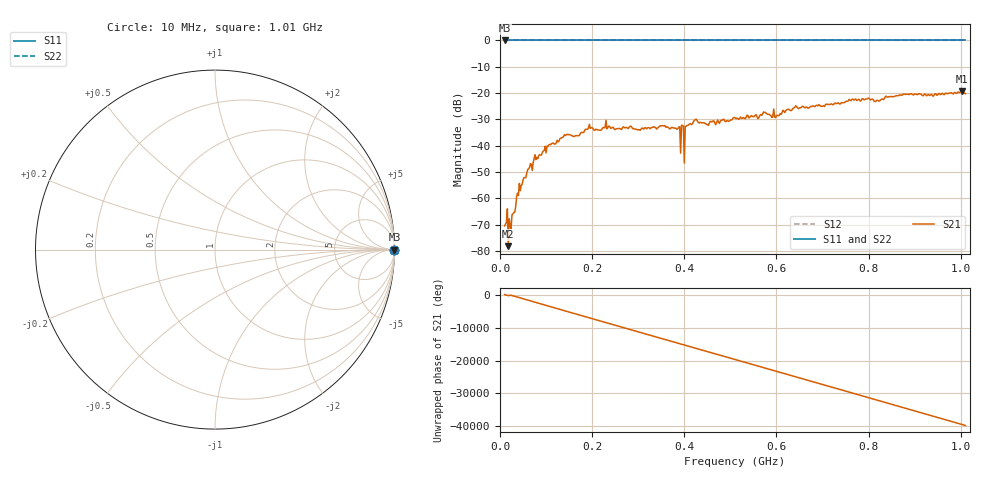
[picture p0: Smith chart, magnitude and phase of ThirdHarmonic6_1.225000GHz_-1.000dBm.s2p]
! 8/16/2025 12:53:25 PM
! C:\ANRITSUVNA\TEMP\TEMP.S2P
! CHANNEL.1
! TR.MEASUREMENT
! RAW.DATA
! RF.CORRECTION.OFF
! AVERAGING.OFF
! IF.BANDWIDTH: 5KHZ
! SWEEPTYPE:  FREQ.SWEEP(Linear)
! Reference Plane Port Info
! PORT:  PORT1  PORT2
! DISTANCE:  0  m  0  m
! TIME:  0  s  0  s
! PHASE.OFFSET:  0  deg.  0  deg.
! LOSS:  0  dB  0  dB
! REF.LOSS:  0  dB  0  dB
! REF.FREQ:  0  Hz  0  Hz
! Power Info
! POWER:  -20  dBm  -20  dBm
! EFF.POWER:  -20  dBm  -20  dBm
! SOURCE.ATTEN:  0  dB  0  dB
! TEST.ATTEN:  0  dB  0  dB
# GHZ S RI R 50.0
! FREQ.GHZ  S11RE  S11IM  S21RE  S21IM  S12RE  S12IM  S22RE  S22IM
!; PortSelection: Port_12
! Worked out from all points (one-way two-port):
!   501 points, 10 MHz to 1.01 GHz, reference 50 ohm
!   highest |S21| = -19.21 dB at 1.002 GHz (marker M1); lowest = -78.2 dB at 18 MHz (marker M2)
!   lowest |S11| = 0.0 dB at 10 MHz (marker M3)
!   |S11| at or under -10 dB: nowhere
!   |S22| runs from 0.0 to 0.0 dB; largest |S21 - S12| = 1.1
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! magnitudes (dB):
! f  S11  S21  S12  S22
! 10 MHz  0.0  -70.5  0.0  0.0
! 18 MHz  0.0  -78.2  0.0  0.0
! 22 MHz  0.0  -70.6  0.0  0.0
! 46 MHz  0.0  -55.1  0.0  0.0
! 76 MHz  0.0  -43.4  0.0  0.0
! 142 MHz  0.0  -36.1  0.0  0.0
! 178 MHz  0.0  -34.9  0.0  0.0
! 234 MHz  0.0  -33.1  0.0  0.0
! 344 MHz  0.0  -33.0  0.0  0.0
! 386 MHz  0.0  -33.5  0.0  0.0
! 394 MHz  0.0  -32.2  0.0  0.0
! 396 MHz  0.0  -32.3  0.0  0.0
! 404 MHz  0.0  -32.6  0.0  0.0
! 406 MHz  0.0  -32.3  0.0  0.0
! 424 MHz  0.0  -30.1  0.0  0.0
! 450 MHz  0.0  -32.1  0.0  0.0
! 510 MHz  0.0  -29.4  0.0  0.0
! 600 MHz  0.0  -28.6  0.0  0.0
! 678 MHz  0.0  -25.0  0.0  0.0
! 844 MHz  0.0  -21.3  0.0  0.0
! 1.002 GHz  0.0  -19.2  0.0  0.0
! 1.01 GHz  0.0  -20.3  0.0  0.0
